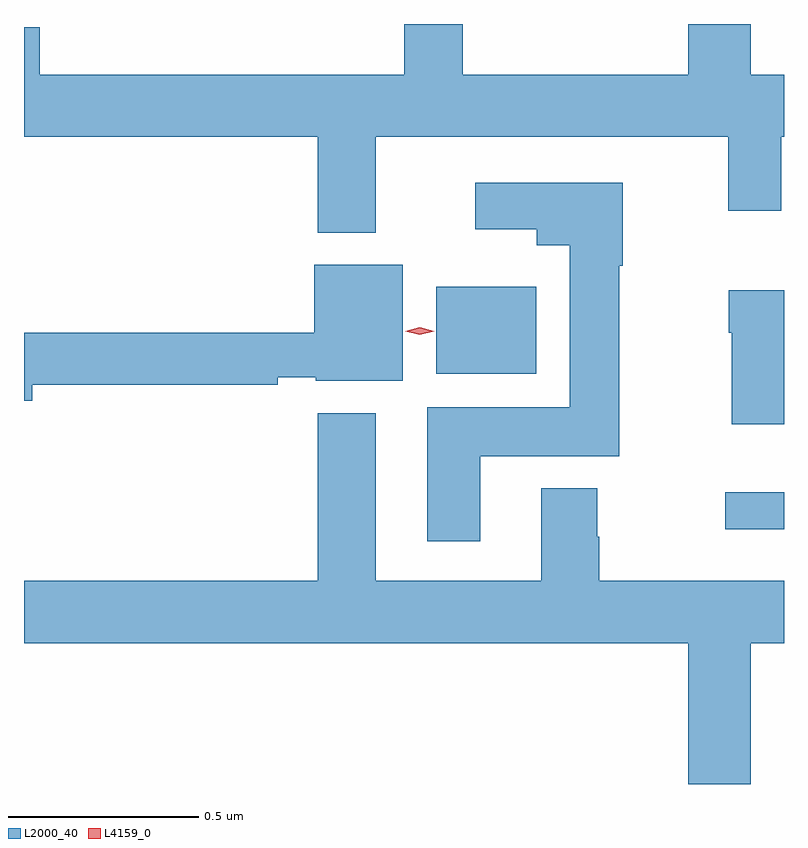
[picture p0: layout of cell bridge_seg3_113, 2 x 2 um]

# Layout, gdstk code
import gdstk
lib = gdstk.Library(unit=1e-6, precision=1e-09)
def R(c, l, rs):  # rectangles x0, y0, x1, y1
    for r in rs: c.add(gdstk.rectangle(r[:2], r[2:], *l))
def P(c, l, *ps):  # polygons
    for p in ps: c.add(gdstk.Polygon(p, *l))
L2000_40 = (2000, 40)
L4159_0 = (4159, 0)

bridge_seg3_113 = lib.new_cell('bridge_seg3_113')
R(bridge_seg3_113, L2000_40, [(225.045,741.176,225.2,741.273), (224.285,741.584,224.548,741.814)])
P(bridge_seg3_113, L2000_40, [(224.125,742.208),(225.053,742.208),(225.053,742.014),(225.193,742.014),(225.193,742.208),(225.2,742.208),(225.2,742.372),(225.112,742.372),(225.112,742.505),(224.948,742.505),(224.948,742.372),(224.354,742.372),(224.354,742.505),(224.201,742.505),(224.201,742.372),(223.241,742.372),(223.241,742.496),(223.2,742.496),(223.2,742.208),(223.973,742.208),(223.973,741.956),(224.125,741.956)],
  [(224.401,741.368),(224.766,741.368),(224.766,741.869),(224.776,741.869),(224.776,742.087),(224.388,742.087),(224.388,741.965),(224.549,741.965),(224.549,741.923),(224.636,741.923),(224.636,741.496),(224.261,741.496),(224.261,741.144),(224.401,741.144)],
  [(223.222,741.556),(223.868,741.556),(223.868,741.576),(223.968,741.576),(223.968,741.566),(224.197,741.566),(224.197,741.871),(223.964,741.871),(223.964,741.692),(223.2,741.692),(223.2,741.514),(223.222,741.514)],
  [(225.2,741.805),(225.055,741.805),(225.055,741.692),(225.062,741.692),(225.062,741.452),(225.2,741.452)],
  [(225.112,740.876),(225.2,740.876),(225.2,741.04),(224.714,741.04),(224.714,741.156),(224.709,741.156),(224.709,741.283),(224.561,741.283),(224.561,741.04),(224.125,741.04),(224.125,741.481),(223.973,741.481),(223.973,741.04),(223.2,741.04),(223.2,740.876),(224.948,740.876),(224.948,740.505),(225.112,740.505)])
P(bridge_seg3_113, L4159_0, [(224.241,741.687),(224.203,741.696),(224.203,741.697),(224.203,741.697),(224.241,741.707),(224.28,741.697),(224.28,741.697),(224.28,741.697)])

lib.write_gds('bridge_seg3_113.gds')
